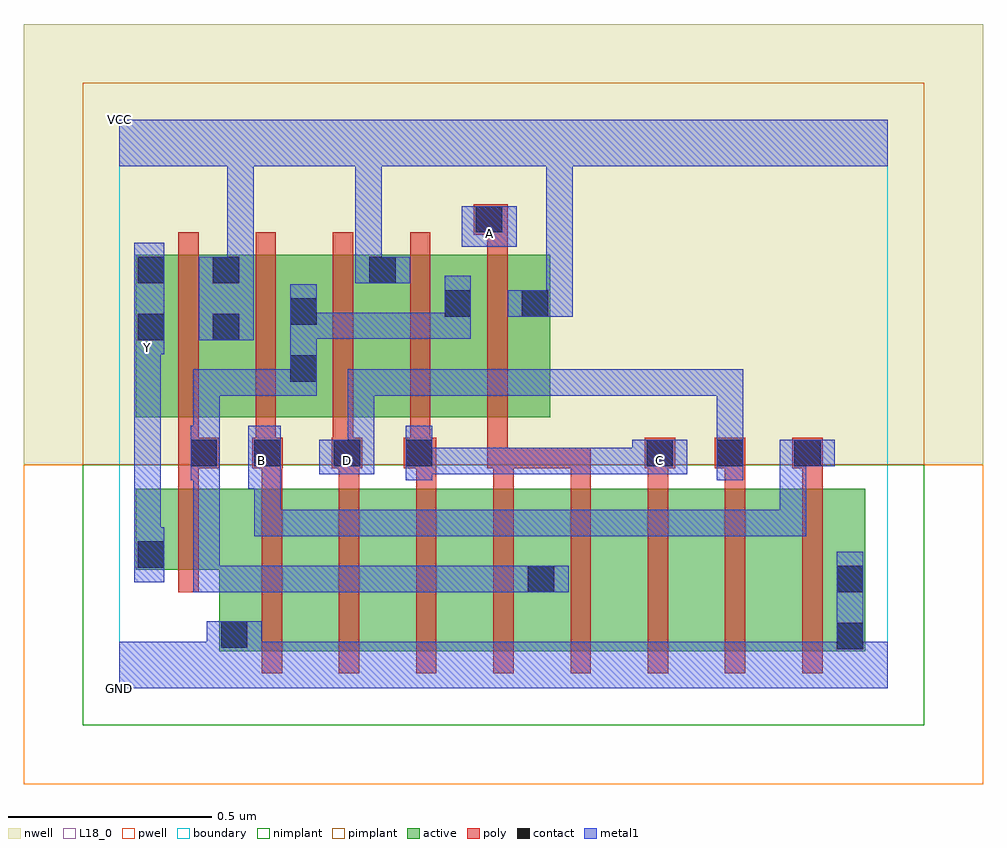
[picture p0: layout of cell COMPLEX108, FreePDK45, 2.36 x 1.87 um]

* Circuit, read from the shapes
.subckt COMPLEX108 A B C D GND VCC Y
M1 GND n1 Y VSUBS nfet w=0.2u l=0.05u
M2 n2 B GND VSUBS nfet w=0.4u l=0.05u
M3 n3 D n2 VSUBS nfet w=0.4u l=0.05u
M4 n4 C n3 VSUBS nfet w=0.4u l=0.05u
M5 n1 A n4 VSUBS nfet w=0.4u l=0.05u
M6 n5 A n1 VSUBS nfet w=0.4u l=0.05u
M7 n6 C n5 VSUBS nfet w=0.4u l=0.05u
M8 n7 D n6 VSUBS nfet w=0.4u l=0.05u
M9 GND B n7 VSUBS nfet w=0.4u l=0.05u
M10 VCC n1 Y n8 pfet w=0.4u l=0.05u
M11 n1 B VCC n8 pfet w=0.4u l=0.05u
M12 VCC D n1 n8 pfet w=0.4u l=0.05u
M13 n1 C VCC n8 pfet w=0.4u l=0.05u
M14 VCC A n1 n8 pfet w=0.4u l=0.05u
.ends

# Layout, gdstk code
import gdstk
lib = gdstk.Library(unit=1e-6, precision=1e-09)
def R(c, l, rs):  # rectangles x0, y0, x1, y1
    for r in rs: c.add(gdstk.rectangle(r[:2], r[2:], *l))
def A(c, l, x, y, w, h, nx, ny, dx, dy):  # array of equal rectangles
    R(c, l, [(x+i*dx, y+j*dy, x+i*dx+w, y+j*dy+h) for i in range(nx) for j in range(ny)])
active = (1, 0)
pwell = (2, 0)
nwell = (3, 0)
nimplant = (4, 0)
pimplant = (5, 0)
poly = (9, 0)
contact = (10, 0)
metal1 = (11, 0)
L18_0 = (18, 0)
boundary = (235, 0)

complex108 = lib.new_cell('COMPLEX108')
R(complex108, active, [(0.245,0.092,0.47,0.492), (0.245,0.092,0.32,0.31), (0.47,0.092,0.66,0.492), (0.66,0.092,0.85,0.492), (0.85,0.092,1.075,0.492), (1,0.092,1.23,0.492), (1.23,0.092,1.42,0.492), (1.42,0.092,1.61,0.492), (1.61,0.092,1.835,0.492), (1.76,0.092,1.835,0.492), (1,0.095,1.075,0.492), (0.04,0.292,0.32,0.492), (0.04,0.292,0.115,0.492), (0.04,0.667,0.115,1.067), (0.04,0.667,0.3,1.067), (0.225,0.667,0.49,1.067), (0.415,0.667,0.49,1.067), (0.415,0.667,0.685,1.067), (0.61,0.667,0.87,1.067), (0.795,0.667,1.06,1.067), (0.985,0.72,1.06,1.042), (0.225,0.802,0.3,1.067), (0.795,0.802,0.87,1.042), (0.61,0.907,0.685,1.067)])
R(complex108, pwell, [(-0.235,-0.235,2.125,0.55)])
R(complex108, nwell, [(-0.235,0.55,2.125,1.635)])
R(complex108, nimplant, [(-0.09,-0.09,1.98,0.55)])
R(complex108, pimplant, [(-0.09,0.55,1.98,1.49)])
A(complex108, poly, 0.35, 0.037, 0.05, 0.51, 8, 1, 0.19, 0)
A(complex108, poly, 0.35, 0.497, 0.05, 0.095, 8, 1, 0.19, 0)
A(complex108, poly, 0.145, 0.567, 0.05, 0.095, 4, 1, 0.19, 0)
A(complex108, poly, 0.145, 0.612, 0.05, 0.51, 5, 1, 0.19, 0)
R(complex108, poly, [(0.145,0.237,0.195,0.547), (0.145,0.497,0.195,0.592), (0.145,0.542,0.245,0.617), (0.327,0.542,0.402,0.617), (0.522,0.542,0.597,0.617), (0.7,0.542,0.78,0.617), (0.905,0.542,0.955,0.662), (0.905,0.542,0.97,0.592), (0.92,0.542,1.16,0.592), (1.11,0.542,1.16,0.592), (1.11,0.542,1.16,0.592), (1.11,0.542,1.16,0.592), (1.292,0.542,1.367,0.617), (1.465,0.542,1.54,0.617), (1.655,0.542,1.73,0.617), (0.905,1.072,0.955,1.167), (0.872,1.117,0.955,1.192)])
R(complex108, contact, [(1.765,0.097,1.83,0.162), (0.25,0.1,0.315,0.165), (1.005,0.237,1.07,0.302), (1.765,0.237,1.83,0.302), (0.045,0.297,0.11,0.362), (0.175,0.547,0.24,0.612), (0.332,0.547,0.397,0.612), (0.527,0.547,0.592,0.612), (0.705,0.547,0.77,0.612), (1.297,0.547,1.362,0.612), (1.47,0.547,1.535,0.612), (1.66,0.547,1.725,0.612), (0.42,0.755,0.485,0.82), (0.045,0.857,0.11,0.922), (0.23,0.857,0.295,0.922), (0.42,0.895,0.485,0.96), (0.8,0.915,0.865,0.98), (0.99,0.915,1.055,0.98), (0.045,0.997,0.11,1.062), (0.23,0.997,0.295,1.062), (0.615,0.997,0.68,1.062), (0.877,1.122,0.942,1.187)])
R(complex108, metal1, [(0,0,1.89,0.115), (0.285,0.05,0.35,0.165), (1.765,0.05,1.83,0.127), (1.765,0.062,1.83,0.337), (0.215,0.1,0.35,0.165), (0.182,0.237,0.247,0.302), (0.182,0.237,0.42,0.302), (0.182,0.237,0.247,0.577), (0.355,0.237,0.42,0.302), (0.355,0.237,0.42,0.302), (0.355,0.237,0.42,0.302), (0.355,0.237,0.632,0.302), (0.567,0.237,0.632,0.302), (0.567,0.237,0.632,0.302), (0.567,0.237,0.632,0.302), (0.567,0.237,0.77,0.302), (0.705,0.237,0.77,0.302), (0.705,0.237,0.77,0.302), (0.705,0.237,0.77,0.302), (0.705,0.237,1.035,0.302), (0.97,0.237,1.035,0.302), (0.97,0.237,1.035,0.302), (0.97,0.237,1.105,0.302), (0.037,0.262,0.11,0.397), (0.037,0.332,0.102,0.82), (0.332,0.375,0.397,0.44), (0.332,0.375,0.622,0.44), (0.332,0.375,0.397,0.557), (0.557,0.375,0.622,0.44), (0.557,0.375,0.622,0.44), (0.557,0.375,0.622,0.44), (0.557,0.375,0.77,0.44), (0.705,0.375,0.77,0.44), (0.705,0.375,0.77,0.44), (0.705,0.375,0.77,0.44), (0.705,0.375,1.035,0.44), (0.97,0.375,1.035,0.44), (0.97,0.375,1.035,0.44), (0.97,0.375,1.035,0.44), (0.97,0.375,1.172,0.44), (1.107,0.375,1.172,0.44), (1.107,0.375,1.397,0.44), (1.332,0.375,1.397,0.44), (1.332,0.375,1.397,0.44), (1.332,0.375,1.397,0.44), (1.332,0.375,1.535,0.44), (1.47,0.375,1.535,0.44), (1.47,0.375,1.535,0.44), (1.47,0.375,1.535,0.44), (1.47,0.375,1.69,0.44), (1.625,0.375,1.69,0.44), (1.625,0.375,1.69,0.612), (0.317,0.492,0.397,0.647), (0.332,0.492,0.397,0.557), (0.332,0.492,0.397,0.557), (0.175,0.512,0.24,0.647), (0.175,0.512,0.247,0.577), (0.182,0.512,0.247,0.577), (0.182,0.512,0.247,0.577), (0.182,0.512,0.247,0.577), (0.182,0.512,0.247,0.785), (0.705,0.512,0.77,0.647), (1.47,0.512,1.535,0.647), (0.492,0.527,0.627,0.612), (0.705,0.527,0.77,0.592), (0.705,0.527,0.77,0.592), (0.705,0.527,1.035,0.592), (0.97,0.527,1.035,0.592), (0.97,0.527,1.172,0.592), (1.107,0.527,1.172,0.592), (1.107,0.527,1.172,0.592), (1.107,0.527,1.172,0.592), (1.107,0.527,1.327,0.592), (1.262,0.527,1.327,0.592), (1.262,0.527,1.327,0.592), (1.262,0.527,1.397,0.612), (0.562,0.547,0.627,0.612), (0.562,0.547,0.627,0.612), (0.562,0.547,0.627,0.785), (1.625,0.547,1.69,0.612), (1.625,0.547,1.69,0.612), (1.625,0.547,1.76,0.612), (1.47,0.582,1.535,0.647), (1.47,0.582,1.535,0.647), (1.47,0.582,1.535,0.785), (0.182,0.72,0.247,0.785), (0.182,0.72,0.42,0.785), (0.355,0.72,0.42,0.785), (0.355,0.72,0.485,0.785), (0.42,0.72,0.485,0.995), (0.562,0.72,0.627,0.785), (0.562,0.72,0.77,0.785), (0.705,0.72,0.77,0.785), (0.705,0.72,0.77,0.785), (0.705,0.72,0.77,0.785), (0.705,0.72,0.907,0.785), (0.842,0.72,0.907,0.785), (0.842,0.72,0.907,0.785), (0.842,0.72,0.907,0.785), (0.842,0.72,1.19,0.785), (1.125,0.72,1.19,0.785), (1.125,0.72,1.327,0.785), (1.262,0.72,1.327,0.785), (1.262,0.72,1.327,0.785), (1.262,0.72,1.327,0.785), (1.262,0.72,1.535,0.785), (1.47,0.72,1.535,0.785), (0.037,0.755,0.102,0.907), (0.037,0.822,0.102,0.887), (0.037,0.822,0.11,1.097), (0.195,0.857,0.33,1.062), (0.42,0.86,0.485,0.925), (0.42,0.86,0.485,0.995), (0.42,0.86,0.622,0.925), (0.557,0.86,0.622,0.925), (0.557,0.86,0.622,0.925), (0.557,0.86,0.622,0.925), (0.557,0.86,0.77,0.925), (0.705,0.86,0.77,0.925), (0.705,0.86,0.865,0.925), (0.8,0.86,0.865,1.015), (0.955,0.915,1.115,0.98), (1.05,0.915,1.115,0.98), (1.05,0.915,1.115,0.98), (1.05,0.915,1.115,1.35), (0.265,0.997,0.33,1.062), (0.265,0.997,0.33,1.062), (0.265,0.997,0.33,1.35), (0.58,0.997,0.715,1.062), (0.58,0.997,0.645,1.342), (0.842,1.087,0.977,1.187), (0.58,1.277,0.645,1.342), (0.58,1.277,0.645,1.35), (0,1.285,1.89,1.4), (0.265,1.285,0.33,1.35), (0.265,1.285,0.33,1.35), (0.58,1.285,0.645,1.35), (0.58,1.285,0.645,1.35), (1.05,1.285,1.115,1.35), (1.05,1.285,1.115,1.35)])
R(complex108, L18_0, [(0,0,1.89,0.115), (0.285,0.05,0.35,0.165), (1.765,0.05,1.83,0.127), (1.765,0.062,1.83,0.337), (0.215,0.1,0.35,0.165), (0.037,0.262,0.11,0.397), (0.037,0.332,0.102,0.82), (0.332,0.375,0.397,0.44), (0.332,0.375,0.397,0.557), (0.332,0.375,0.622,0.44), (0.557,0.375,0.622,0.44), (0.557,0.375,0.622,0.44), (0.557,0.375,0.622,0.44), (0.557,0.375,0.77,0.44), (0.705,0.375,0.77,0.44), (0.705,0.375,0.77,0.44), (0.705,0.375,0.77,0.44), (0.705,0.375,1.035,0.44), (0.97,0.375,1.035,0.44), (0.97,0.375,1.035,0.44), (0.97,0.375,1.035,0.44), (0.97,0.375,1.172,0.44), (1.107,0.375,1.172,0.44), (1.107,0.375,1.397,0.44), (1.332,0.375,1.397,0.44), (1.332,0.375,1.397,0.44), (1.332,0.375,1.397,0.44), (1.332,0.375,1.535,0.44), (1.47,0.375,1.535,0.44), (1.47,0.375,1.535,0.44), (1.47,0.375,1.535,0.44), (1.47,0.375,1.69,0.44), (1.625,0.375,1.69,0.44), (1.625,0.375,1.69,0.612), (0.317,0.492,0.397,0.647), (0.332,0.492,0.397,0.557), (0.332,0.492,0.397,0.557), (0.705,0.512,0.77,0.647), (1.47,0.512,1.535,0.647), (0.317,0.527,0.382,0.592), (0.492,0.527,0.627,0.612), (0.527,0.527,0.592,0.592), (0.705,0.527,0.77,0.592), (0.705,0.527,0.77,0.592), (0.705,0.527,1.035,0.592), (0.97,0.527,1.035,0.592), (0.97,0.527,1.172,0.592), (1.107,0.527,1.172,0.592), (1.107,0.527,1.172,0.592), (1.107,0.527,1.172,0.592), (1.107,0.527,1.327,0.592), (1.262,0.527,1.327,0.592), (1.262,0.527,1.327,0.592), (1.262,0.527,1.397,0.612), (1.297,0.527,1.362,0.592), (0.562,0.547,0.627,0.612), (0.562,0.547,0.627,0.612), (0.562,0.547,0.627,0.785), (1.625,0.547,1.69,0.612), (1.625,0.547,1.69,0.612), (1.625,0.547,1.76,0.612), (1.47,0.582,1.535,0.647), (1.47,0.582,1.535,0.647), (1.47,0.582,1.535,0.785), (0.562,0.72,0.627,0.785), (0.562,0.72,0.77,0.785), (0.705,0.72,0.77,0.785), (0.705,0.72,0.77,0.785), (0.705,0.72,0.77,0.785), (0.705,0.72,0.907,0.785), (0.842,0.72,0.907,0.785), (0.842,0.72,0.907,0.785), (0.842,0.72,0.907,0.785), (0.842,0.72,1.19,0.785), (1.125,0.72,1.19,0.785), (1.125,0.72,1.327,0.785), (1.262,0.72,1.327,0.785), (1.262,0.72,1.327,0.785), (1.262,0.72,1.327,0.785), (1.262,0.72,1.535,0.785), (1.47,0.72,1.535,0.785), (0.037,0.755,0.102,0.907), (0.037,0.807,0.102,0.872), (0.037,0.822,0.11,1.097), (0.037,0.822,0.102,0.887), (0.195,0.857,0.33,1.062), (0.955,0.915,1.115,0.98), (1.05,0.915,1.115,0.98), (1.05,0.915,1.115,0.98), (1.05,0.915,1.115,1.35), (0.265,0.997,0.33,1.062), (0.265,0.997,0.33,1.062), (0.265,0.997,0.33,1.35), (0.58,0.997,0.715,1.062), (0.58,0.997,0.645,1.342), (0.842,1.087,0.977,1.187), (0.877,1.087,0.942,1.152), (0.58,1.277,0.645,1.342), (0.58,1.277,0.645,1.35), (0,1.285,1.89,1.4), (0.265,1.285,0.33,1.35), (0.265,1.285,0.33,1.35), (0.58,1.285,0.645,1.35), (0.58,1.285,0.645,1.35), (1.05,1.285,1.115,1.35), (1.05,1.285,1.115,1.35)])
R(complex108, boundary, [(0,0,1.89,1.4)])
complex108.add(gdstk.Label('A', (0.91,1.12), layer=11, texttype=0))
complex108.add(gdstk.Label('B', (0.35,0.56), layer=11, texttype=0))
complex108.add(gdstk.Label('C', (1.33,0.56), layer=11, texttype=0))
complex108.add(gdstk.Label('D', (0.56,0.56), layer=11, texttype=0))
complex108.add(gdstk.Label('Y', (0.07,0.84), layer=11, texttype=0))
complex108.add(gdstk.Label('VCC', (0,1.4), layer=11, texttype=0))
complex108.add(gdstk.Label('GND', (0,0), layer=11, texttype=0))

lib.write_gds('COMPLEX108.gds')
